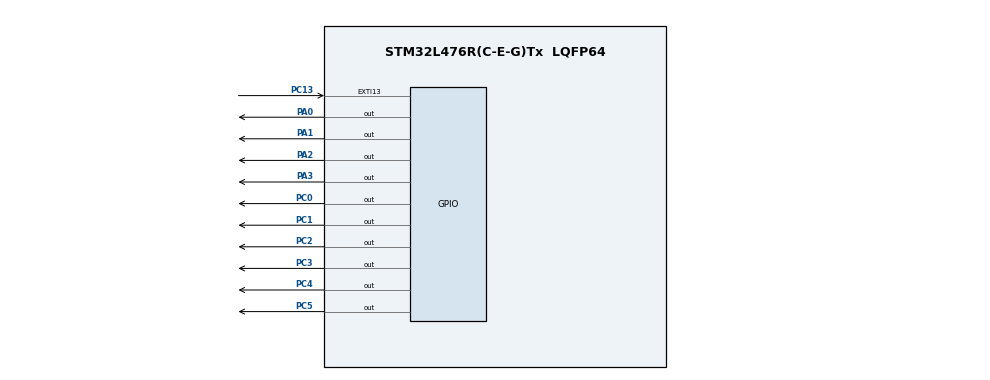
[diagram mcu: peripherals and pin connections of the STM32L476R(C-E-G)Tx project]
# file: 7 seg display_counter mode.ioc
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Mcu.Family=STM32L4
Mcu.Name=STM32L476R(C-E-G)Tx
Mcu.Package=LQFP64
NVIC.EXTI15_10_IRQn=true\:0\:0\:false\:false\:true\:true\:true\:true
NVIC.PriorityGroup=NVIC_PRIORITYGROUP_4
PA0.Signal=GPIO_Output
PA1.Signal=GPIO_Output
PA2.Signal=GPIO_Output
PA3.Signal=GPIO_Output
PC0.Signal=GPIO_Output
PC1.Signal=GPIO_Output
PC13.Signal=GPXTI13
PC2.Signal=GPIO_Output
PC3.Signal=GPIO_Output
PC4.Signal=GPIO_Output
PC5.Signal=GPIO_Output
ProjectManager.HeapSize=0x200
ProjectManager.StackSize=0x400
ProjectManager.TargetToolchain=STM32CubeIDE
RCC.HSE_VALUE=8000000
RCC.HSI_VALUE=16000000
RCC.LSE_VALUE=32768
RCC.MSI_VALUE=4000000
RCC.VCOOutputFreq_Value=32000000
board=custom

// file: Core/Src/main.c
/* USER CODE BEGIN Header */
/**
  ******************************************************************************
  * @file           : main.c
  * @brief          : Main program body
  ******************************************************************************
  * @attention
  *
  * Copyright (c) 2023 STMicroelectronics.
  * All rights reserved.
  *
  * This software is licensed under terms that can be found in the LICENSE file
  * in the root directory of this software component.
  * If no LICENSE file comes with this software, it is provided AS-IS.
  *
  ******************************************************************************
  */
/* USER CODE END Header */
#include "main.h"

/* USER CODE BEGIN PM */

//PIN DU Code BCD
#define Bit_A GPIO_PIN_0
#define Bit_B GPIO_PIN_1
#define Bit_C GPIO_PIN_2
#define Bit_D GPIO_PIN_3

#define SEGMENT_A GPIO_PIN_0
#define SEGMENT_B GPIO_PIN_1
#define SEGMENT_C GPIO_PIN_2
#define SEGMENT_D GPIO_PIN_3
#define SEGMENT_E GPIO_PIN_4
#define SEGMENT_F GPIO_PIN_5
#define SEGMENT_G GPIO_PIN_6

/* USER CODE END PM */

/* USER CODE BEGIN PV */

int i,j;
//uint16_t count;

/* USER CODE END PV */

void SystemClock_Config(void);
static void MX_GPIO_Init(void);
/* USER CODE BEGIN PFP */

void BCD(GPIO_TypeDef* GPIOx, uint16_t chiffre);
void SegDisplay_U(uint16_t chiffre);
void HAL_GPIO_EXTI_Callback(uint16_t GPIO_Pin);

/* USER CODE END PFP */

int main(void)
{

  /* MCU Configuration--------------------------------------------------------*/

  /* Reset of all peripherals, Initializes the Flash interface and the Systick. */
  HAL_Init();

  /* Configure the system clock */
  SystemClock_Config();

  /* Initialize all configured peripherals */
  MX_GPIO_Init();

  /* Infinite loop */
  while (1)
  {

    /* USER CODE BEGIN 3 */
      for (i=0; i<=16; i++){
        BCD(GPIOA, i);
        for (j=0; j<=16; j++){
          SegDisplay(GPIOC, j);
          HAL_Delay(1000);
        }
      }
	//SegDisplay_U(count);
  /* USER CODE END 3 */
  }
}

void SystemClock_Config(void)
{
  RCC_OscInitTypeDef RCC_OscInitStruct = {0};
  RCC_ClkInitTypeDef RCC_ClkInitStruct = {0};

  /** Configure the main internal regulator output voltage
  */
  if (HAL_PWREx_ControlVoltageScaling(PWR_REGULATOR_VOLTAGE_SCALE1) != HAL_OK)
  {
    Error_Handler();
  }

  /** Initializes the RCC Oscillators according to the specified parameters
  * in the RCC_OscInitTypeDef structure.
  */
  RCC_OscInitStruct.OscillatorType = RCC_OSCILLATORTYPE_MSI;
  RCC_OscInitStruct.MSIState = RCC_MSI_ON;
  RCC_OscInitStruct.MSICalibrationValue = 0;
  RCC_OscInitStruct.MSIClockRange = RCC_MSIRANGE_6;
  RCC_OscInitStruct.PLL.PLLState = RCC_PLL_NONE;
  if (HAL_RCC_OscConfig(&RCC_OscInitStruct) != HAL_OK)
  {
    Error_Handler();
  }

  /** Initializes the CPU, AHB and APB buses clocks
  */
  RCC_ClkInitStruct.ClockType = RCC_CLOCKTYPE_HCLK|RCC_CLOCKTYPE_SYSCLK
                              |RCC_CLOCKTYPE_PCLK1|RCC_CLOCKTYPE_PCLK2;
  RCC_ClkInitStruct.SYSCLKSource = RCC_SYSCLKSOURCE_MSI;
  RCC_ClkInitStruct.AHBCLKDivider = RCC_SYSCLK_DIV1;
  RCC_ClkInitStruct.APB1CLKDivider = RCC_HCLK_DIV1;
  RCC_ClkInitStruct.APB2CLKDivider = RCC_HCLK_DIV1;

  if (HAL_RCC_ClockConfig(&RCC_ClkInitStruct, FLASH_LATENCY_0) != HAL_OK)
  {
    Error_Handler();
  }
}

static void MX_GPIO_Init(void)
{
  GPIO_InitTypeDef GPIO_InitStruct = {0};

  /* GPIO Ports Clock Enable */
  __HAL_RCC_GPIOC_CLK_ENABLE();
  __HAL_RCC_GPIOA_CLK_ENABLE();

  /*Configure GPIO pin Output Level */
  HAL_GPIO_WritePin(GPIOC, GPIO_PIN_0|GPIO_PIN_1|GPIO_PIN_2|GPIO_PIN_3
                          |GPIO_PIN_4|GPIO_PIN_5, GPIO_PIN_RESET);

  /*Configure GPIO pin Output Level */
  HAL_GPIO_WritePin(GPIOA, GPIO_PIN_0|GPIO_PIN_1|GPIO_PIN_2|GPIO_PIN_3, GPIO_PIN_RESET);

  /*Configure GPIO pin : PC13 */
  GPIO_InitStruct.Pin = GPIO_PIN_13;
  GPIO_InitStruct.Mode = GPIO_MODE_IT_RISING;
  GPIO_InitStruct.Pull = GPIO_NOPULL;
  HAL_GPIO_Init(GPIOC, &GPIO_InitStruct);

  /*Configure GPIO pins : PC0 PC1 PC2 PC3
                           PC4 PC5 */
  GPIO_InitStruct.Pin = GPIO_PIN_0|GPIO_PIN_1|GPIO_PIN_2|GPIO_PIN_3
                          |GPIO_PIN_4|GPIO_PIN_5;
  GPIO_InitStruct.Mode = GPIO_MODE_OUTPUT_PP;
  GPIO_InitStruct.Pull = GPIO_NOPULL;
  GPIO_InitStruct.Speed = GPIO_SPEED_FREQ_LOW;
  HAL_GPIO_Init(GPIOC, &GPIO_InitStruct);

  /*Configure GPIO pins : PA0 PA1 PA2 PA3 */
  GPIO_InitStruct.Pin = GPIO_PIN_0|GPIO_PIN_1|GPIO_PIN_2|GPIO_PIN_3;
  GPIO_InitStruct.Mode = GPIO_MODE_OUTPUT_PP;
  GPIO_InitStruct.Pull = GPIO_NOPULL;
  GPIO_InitStruct.Speed = GPIO_SPEED_FREQ_LOW;
  HAL_GPIO_Init(GPIOA, &GPIO_InitStruct);

  /* EXTI interrupt init*/
  HAL_NVIC_SetPriority(EXTI15_10_IRQn, 0, 0);
  HAL_NVIC_EnableIRQ(EXTI15_10_IRQn);

}

/* USER CODE BEGIN 4 */

void BCD(GPIO_TypeDef* GPIOx, uint16_t chiffre)
{
  switch (chiffre){
  case 0: HAL_GPIO_ResetBits(GPIOx, Bit_A|Bit_B|Bit_C|Bit_D);
    break;
  case 1: HAL_GPIO_SetBits(GPIOx, Bit_A);
    HAL_GPIO_ResetBits(GPIOx, Bit_B|Bit_C|Bit_D);
    break;
  case 2: HAL_GPIO_SetBits(GPIOx, Bit_B);
    HAL_GPIO_ResetBits(GPIOx, Bit_A|Bit_C|Bit_D);
    break;
  case 3: HAL_GPIO_SetBits(GPIOx, Bit_A|Bit_B);
    HAL_GPIO_ResetBits(GPIOx, Bit_C|Bit_D);
    break;
  case 4: HAL_GPIO_SetBits(GPIOx, Bit_C);
    HAL_GPIO_ResetBits(GPIOx, Bit_A|Bit_B|Bit_D);
    break;
  case 5: HAL_GPIO_SetBits(GPIOx, Bit_A|Bit_C);
    HAL_GPIO_ResetBits(GPIOx, Bit_B|Bit_D);
    break;
  case 6: HAL_GPIO_SetBits(GPIOx, Bit_B|Bit_C);
    HAL_GPIO_ResetBits(GPIOx, Bit_A|Bit_D);
    break;
  case 7: HAL_GPIO_SetBits(GPIOx, Bit_A|Bit_B|Bit_C);
    HAL_GPIO_ResetBits(GPIOx, Bit_D);
    break;
  case 8: HAL_GPIO_SetBits(GPIOx, Bit_D);
    HAL_GPIO_ResetBits(GPIOx, Bit_A|Bit_B|Bit_C);
    break;
  case 9: HAL_GPIO_SetBits(GPIOx, Bit_A|Bit_D);
    HAL_GPIO_ResetBits(GPIOx, Bit_B|Bit_C);
    break;
  case 10: HAL_GPIO_SetBits(GPIOx, Bit_B|Bit_D);
    HAL_GPIO_ResetBits(GPIOx, Bit_A|Bit_C);
    break;
  case 11: HAL_GPIO_SetBits(GPIOx,Bit_A|Bit_B|Bit_D);
    HAL_GPIO_ResetBits(GPIOx, Bit_C);
    break;
  case 12: HAL_GPIO_SetBits(GPIOx, Bit_C|Bit_D);
    HAL_GPIO_ResetBits(GPIOx, Bit_A|Bit_B);
    break;
  case 13: HAL_GPIO_SetBits(GPIOx, Bit_A|Bit_C|Bit_D);
    HAL_GPIO_ResetBits(GPIOx, Bit_B);
    break;
  case 14: HAL_GPIO_SetBits(GPIOx, Bit_B|Bit_C|Bit_D);
    HAL_GPIO_ResetBits(GPIOx, Bit_A);
    break;
  case 15: HAL_GPIO_SetBits(GPIOx, Bit_A|Bit_B|Bit_C|Bit_D);

  default: HAL_GPIO_ResetBits(GPIOx, Bit_A|Bit_B|Bit_C|Bit_D);
  }
}

void SegDisplay(GPIO_TypeDef* GPIOx, uint16_t chiffre)
{
  switch (chiffre){
  case 0: HAL_GPIO_SetBits(GPIOx, SEGMENT_A|SEGMENT_B|SEGMENT_C|SEGMENT_D | SEGMENT_E |SEGMENT_F);
          HAL_GPIO_ResetBits(GPIOx,SEGMENT_G);
    break;
  case 1: HAL_GPIO_SetBits(GPIOx, SEGMENT_B|SEGMENT_C);
    HAL_GPIO_ResetBits(GPIOx, SEGMENT_A|SEGMENT_D | SEGMENT_E |SEGMENT_F|SEGMENT_G);
    break;
  case 2: HAL_GPIO_SetBits(GPIOx,SEGMENT_A|SEGMENT_B|SEGMENT_G|SEGMENT_D | SEGMENT_E );
    HAL_GPIO_ResetBits(GPIOx, SEGMENT_C|SEGMENT_F);
    break;
  case 3: HAL_GPIO_SetBits(GPIOx, SEGMENT_A|SEGMENT_B|SEGMENT_C|SEGMENT_D |SEGMENT_G);
    HAL_GPIO_ResetBits(GPIOx,  SEGMENT_E |SEGMENT_F);
    break;
  case 4: HAL_GPIO_SetBits(GPIOx,SEGMENT_B|SEGMENT_C|SEGMENT_F|SEGMENT_G);
    HAL_GPIO_ResetBits(GPIOx, SEGMENT_A|SEGMENT_D | SEGMENT_E);
    break;
  case 5: HAL_GPIO_SetBits(GPIOx,SEGMENT_A|SEGMENT_C|SEGMENT_D|SEGMENT_F|SEGMENT_G);
    HAL_GPIO_ResetBits(GPIOx, SEGMENT_B|SEGMENT_E);
    break;
  case 6: HAL_GPIO_SetBits(GPIOx, SEGMENT_A |SEGMENT_C |SEGMENT_D |SEGMENT_E | SEGMENT_F | SEGMENT_G);
    HAL_GPIO_ResetBits(GPIOx, SEGMENT_B);
    break;
  case 7: HAL_GPIO_SetBits(GPIOx, SEGMENT_A|SEGMENT_B|SEGMENT_C);
    HAL_GPIO_ResetBits(GPIOx, SEGMENT_D |SEGMENT_E | SEGMENT_F | SEGMENT_G);
    break;
  case 8: HAL_GPIO_SetBits(GPIOx, SEGMENT_A|SEGMENT_B|SEGMENT_C|SEGMENT_D |SEGMENT_E | SEGMENT_F | SEGMENT_G);

    break;
  case 9: HAL_GPIO_SetBits(GPIOx,SEGMENT_A|SEGMENT_B|SEGMENT_C|SEGMENT_D | SEGMENT_F | SEGMENT_G);
    HAL_GPIO_ResetBits(GPIOx,SEGMENT_E );
    break;
  case 10: HAL_GPIO_SetBits(GPIOx, SEGMENT_A|SEGMENT_B|SEGMENT_C |SEGMENT_E | SEGMENT_F | SEGMENT_G);
    HAL_GPIO_ResetBits(GPIOx, SEGMENT_D);
    break;
  case 11: HAL_GPIO_SetBits(GPIOx,SEGMENT_C|SEGMENT_D |SEGMENT_E | SEGMENT_F | SEGMENT_G);
    HAL_GPIO_ResetBits(GPIOx, SEGMENT_A|SEGMENT_B);
    break;
  case 12: HAL_GPIO_SetBits(GPIOx, SEGMENT_D |SEGMENT_E |  SEGMENT_G);
    HAL_GPIO_ResetBits(GPIOx, SEGMENT_A|SEGMENT_B|SEGMENT_C|SEGMENT_F);
    break;
  case 13: HAL_GPIO_SetBits(GPIOx, SEGMENT_B|SEGMENT_C|SEGMENT_D |SEGMENT_E | SEGMENT_G);
    HAL_GPIO_ResetBits(GPIOx, SEGMENT_A| SEGMENT_F );
    break;
  case 14: HAL_GPIO_SetBits(GPIOx, SEGMENT_A|SEGMENT_F|SEGMENT_D |SEGMENT_E | SEGMENT_G);
    HAL_GPIO_ResetBits(GPIOx,SEGMENT_B|SEGMENT_C );
    break;
  case 15: HAL_GPIO_SetBits(GPIOx,SEGMENT_A|SEGMENT_F|SEGMENT_E | SEGMENT_G);
            HAL_GPIO_ResetBits(GPIOx,SEGMENT_B|SEGMENT_C |SEGMENT_D);

  default: HAL_GPIO_SetBits(GPIOx,  SEGMENT_G);
         GPIO_ResetBits(GPIOx,SEGMENT_A|SEGMENT_B|SEGMENT_C|SEGMENT_D |SEGMENT_E | SEGMENT_F  );
  }
}

/*
void HAL_GPIO_EXTI_Callback(uint16_t GPIO_Pin)
{
	count++;
	if (count==9){
		count=0;
	}
}
*/

/* USER CODE END 4 */

void Error_Handler(void)
{
  __disable_irq();
  while (1)
  {
  }
}
